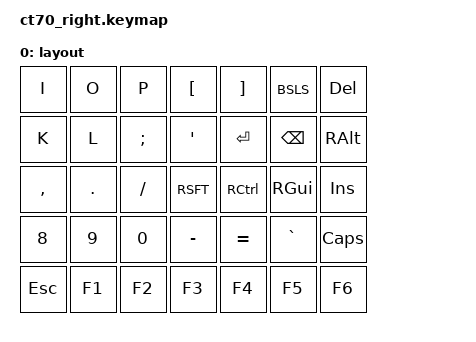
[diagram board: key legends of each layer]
/ {
    keymap {
        compatible = "zmk,keymap";

        layout {
            bindings = <
                &kp I &kp O &kp P &kp LBKT &kp RBKT &kp BSLS &kp DEL
                &kp K &kp L &kp SEMI &kp QUOT &kp ENTER &kp BSPC &kp RALT
                &kp COMMA &kp DOT &kp SLASH &kp RSFT &kp RCTRL &kp RGUI &kp INS
                &kp 8 &kp 9 &kp 0 &kp MINUS &kp EQUAL &kp GRAVE &kp CAPS
                &kp ESC &kp F1 &kp F2 &kp F3 &kp F4 &kp F5 &kp F6
            >;
        };
    };
};
